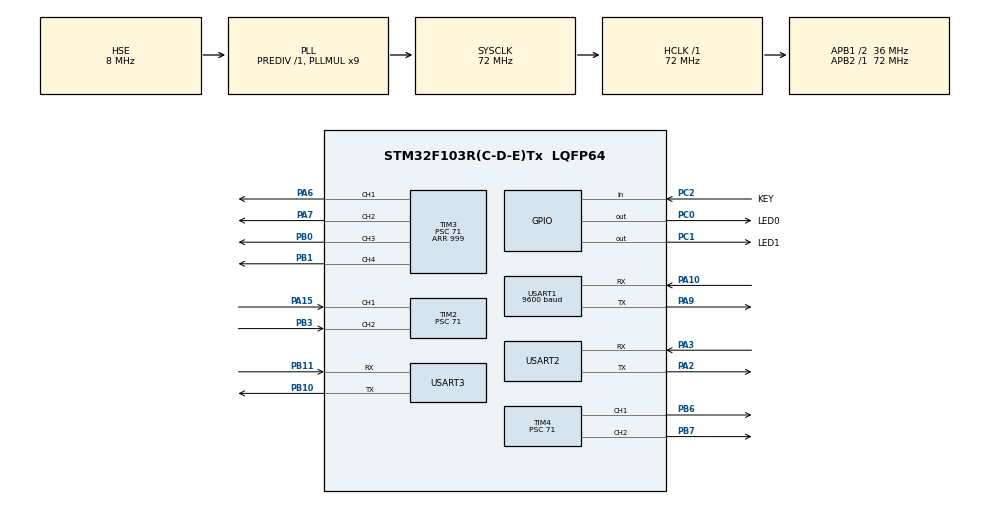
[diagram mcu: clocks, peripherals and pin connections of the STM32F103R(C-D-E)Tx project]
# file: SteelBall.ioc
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Dma.Request0=USART2_RX
Dma.Request1=USART1_RX
Dma.USART1_RX.1.Direction=DMA_PERIPH_TO_MEMORY
Dma.USART1_RX.1.Instance=DMA1_Channel5
Dma.USART1_RX.1.MemDataAlignment=DMA_MDATAALIGN_BYTE
Dma.USART1_RX.1.MemInc=DMA_MINC_ENABLE
Dma.USART1_RX.1.Mode=DMA_NORMAL
Dma.USART1_RX.1.PeriphDataAlignment=DMA_PDATAALIGN_BYTE
Dma.USART1_RX.1.PeriphInc=DMA_PINC_DISABLE
Dma.USART1_RX.1.Priority=DMA_PRIORITY_LOW
Dma.USART2_RX.0.Direction=DMA_PERIPH_TO_MEMORY
Dma.USART2_RX.0.Instance=DMA1_Channel6
Dma.USART2_RX.0.MemDataAlignment=DMA_MDATAALIGN_BYTE
Dma.USART2_RX.0.MemInc=DMA_MINC_ENABLE
Dma.USART2_RX.0.Mode=DMA_NORMAL
Dma.USART2_RX.0.PeriphDataAlignment=DMA_PDATAALIGN_BYTE
Dma.USART2_RX.0.PeriphInc=DMA_PINC_DISABLE
Dma.USART2_RX.0.Priority=DMA_PRIORITY_LOW
Mcu.Family=STM32F1
Mcu.Name=STM32F103R(C-D-E)Tx
Mcu.Package=LQFP64
NVIC.DMA1_Channel5_IRQn=true\:0\:0\:false\:false\:true\:false\:true
NVIC.DMA1_Channel6_IRQn=true\:0\:0\:false\:false\:true\:false\:true
NVIC.PriorityGroup=NVIC_PRIORITYGROUP_2
NVIC.TIM2_IRQn=true\:1\:0\:true\:false\:true\:true\:true
NVIC.TIM6_IRQn=true\:1\:0\:true\:false\:true\:true\:true
NVIC.TIM7_IRQn=true\:0\:0\:false\:false\:true\:true\:true
NVIC.USART1_IRQn=true\:0\:0\:true\:false\:true\:true\:true
NVIC.USART2_IRQn=true\:2\:0\:true\:false\:true\:true\:true
NVIC.USART3_IRQn=true\:2\:1\:true\:false\:true\:true\:true
PA10.Mode=Asynchronous
PA10.Signal=USART1_RX
PA13.Mode=Serial_Wire
PA13.Signal=SYS_JTMS-SWDIO
PA14.Mode=Serial_Wire
PA14.Signal=SYS_JTCK-SWCLK
PA15.GPIO_PuPd=GPIO_PULLUP
PA15.Signal=S_TIM2_CH1_ETR
PA2.Mode=Asynchronous
PA2.Signal=USART2_TX
PA3.Mode=Asynchronous
PA3.Signal=USART2_RX
PA6.GPIO_Speed=GPIO_SPEED_FREQ_HIGH
PA6.Signal=S_TIM3_CH1
PA7.GPIO_Speed=GPIO_SPEED_FREQ_HIGH
PA7.Signal=S_TIM3_CH2
PA9.Mode=Asynchronous
PA9.Signal=USART1_TX
PB0.GPIO_Speed=GPIO_SPEED_FREQ_HIGH
PB0.Signal=S_TIM3_CH3
PB1.GPIO_Speed=GPIO_SPEED_FREQ_HIGH
PB1.Signal=S_TIM3_CH4
PB10.Mode=Asynchronous
PB10.Signal=USART3_TX
PB11.Mode=Asynchronous
PB11.Signal=USART3_RX
PB3.GPIO_PuPd=GPIO_PULLUP
PB3.Signal=S_TIM2_CH2
PB6.GPIO_Speed=GPIO_SPEED_FREQ_HIGH
PB6.Signal=S_TIM4_CH1
PB7.GPIO_Speed=GPIO_SPEED_FREQ_HIGH
PB7.Signal=S_TIM4_CH2
PC0.GPIO_Label=LED0
PC0.Signal=GPIO_Output
PC1.GPIO_Label=LED1
PC1.Signal=GPIO_Output
PC2.GPIO_Label=KEY
PC2.Signal=GPIO_Input
PD0-OSC_IN.Mode=HSE-External-Oscillator
PD0-OSC_IN.Signal=RCC_OSC_IN
PD1-OSC_OUT.Mode=HSE-External-Oscillator
PD1-OSC_OUT.Signal=RCC_OSC_OUT
ProjectManager.HeapSize=0x200
ProjectManager.StackSize=0x400
ProjectManager.TargetToolchain=MDK-ARM V5
RCC.AHBFreq_Value=72000000
RCC.APB1CLKDivider=RCC_HCLK_DIV2
RCC.APB1Freq_Value=36000000
RCC.APB1TimFreq_Value=72000000
RCC.APB2Freq_Value=72000000
RCC.APB2TimFreq_Value=72000000
RCC.EnbaleCSS=true
RCC.HCLKFreq_Value=72000000
RCC.PLLMUL=RCC_PLL_MUL9
RCC.PLLSourceVirtual=RCC_PLLSOURCE_HSE
RCC.SYSCLKFreq_VALUE=72000000
RCC.SYSCLKSource=RCC_SYSCLKSOURCE_PLLCLK
RCC.USBFreq_Value=72000000
SH.S_TIM2_CH1_ETR.0=TIM2_CH1,Input_Capture1_from_TI1
SH.S_TIM2_CH2.0=TIM2_CH2,Input_Capture2_from_TI2
SH.S_TIM3_CH1.0=TIM3_CH1,PWM Generation1 CH1
SH.S_TIM3_CH2.0=TIM3_CH2,PWM Generation2 CH2
SH.S_TIM3_CH3.0=TIM3_CH3,PWM Generation3 CH3
SH.S_TIM3_CH4.0=TIM3_CH4,PWM Generation4 CH4
SH.S_TIM4_CH1.0=TIM4_CH1,PWM Generation1 CH1
SH.S_TIM4_CH2.0=TIM4_CH2,PWM Generation2 CH2
TIM2.Channel-Input_Capture1_from_TI1=TIM_CHANNEL_1
TIM2.Channel-Input_Capture2_from_TI2=TIM_CHANNEL_2
TIM2.ICFilter_CH1=0
TIM2.ICFilter_CH2=0
TIM2.Period=0xFFFF
TIM2.Prescaler=71
TIM3.AutoReloadPreload=TIM_AUTORELOAD_PRELOAD_ENABLE
TIM3.Channel-PWM\ Generation1\ CH1=TIM_CHANNEL_1
TIM3.Channel-PWM\ Generation2\ CH2=TIM_CHANNEL_2
TIM3.Channel-PWM\ Generation3\ CH3=TIM_CHANNEL_3
TIM3.Channel-PWM\ Generation4\ CH4=TIM_CHANNEL_4
TIM3.Period=999
TIM3.Prescaler=71
TIM3.Pulse-PWM\ Generation1\ CH1=100
TIM3.Pulse-PWM\ Generation2\ CH2=200
TIM3.Pulse-PWM\ Generation3\ CH3=300
TIM3.Pulse-PWM\ Generation4\ CH4=400
TIM4.AutoReloadPreload=TIM_AUTORELOAD_PRELOAD_ENABLE
TIM4.Channel-PWM\ Generation1\ CH1=TIM_CHANNEL_1
TIM4.Channel-PWM\ Generation2\ CH2=TIM_CHANNEL_2
TIM4.Period=999
TIM4.Prescaler=71
TIM4.Pulse-PWM\ Generation1\ CH1=123
TIM4.Pulse-PWM\ Generation2\ CH2=456
TIM6.Period=1000
TIM6.Prescaler=71
TIM7.Period=9999
TIM7.Prescaler=71
USART1.BaudRate=9600
USART1.VirtualMode=VM_ASYNC
USART2.VirtualMode=VM_ASYNC
USART3.VirtualMode=VM_ASYNC
VP_TIM6_VS_ClockSourceINT.Mode=Enable_Timer
VP_TIM7_VS_ClockSourceINT.Mode=Enable_Timer
board=custom

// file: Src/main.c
/* USER CODE BEGIN Header */
/**
  ******************************************************************************
  * @file           : main.c
  * @brief          : Main program body
  ******************************************************************************
  * @attention
  *
  * <h2><center>&copy; Copyright (c) 2019 STMicroelectronics.
  * All rights reserved.</center></h2>
  *
  * This software component is licensed by ST under BSD 3-Clause license,
  * the "License"; You may not use this file except in compliance with the
  * License. You may obtain a copy of the License at:
  *                        opensource.org/licenses/BSD-3-Clause
  *
  ******************************************************************************
  */
/* USER CODE END Header */

#include "main.h"
#include "dma.h"
#include "tim.h"
#include "usart.h"
#include "gpio.h"

/* USER CODE BEGIN Includes */
#include <stdio.h>
#include "Gyro.h"
#include "UsartHmi.h"
#include <stdlib.h>
#include <math.h>
/* USER CODE END Includes */

void SystemClock_Config(void);
/* USER CODE BEGIN PFP */
void PrintDisplay(void);
double getAlpha(double time);
/* USER CODE END PFP */

/* USER CODE BEGIN 0 */

//uint16_t Capture[0].Buff[3]={0};
//uint8_t Capture[0].Cnt = 0;
//uint16_t PwmCycle,Capture[0].Time;

uint16_t CapTime=0;
Capture_t Capture[2];
uint8_t PrintBuff[3]={0xff,0xff,0xff};
float Angle;
/* USER CODE END 0 */

int main(void)
{
  /* USER CODE BEGIN 1 */
//uint16_t flag=0;
  /* USER CODE END 1 */

  /* MCU Configuration--------------------------------------------------------*/

  /* Reset of all peripherals, Initializes the Flash interface and the Systick. */
  HAL_Init();

  /* Configure the system clock */
  SystemClock_Config();

  /* Initialize all configured peripherals */
  MX_GPIO_Init();
  MX_DMA_Init();
  MX_TIM6_Init();
  MX_TIM2_Init();
  MX_TIM3_Init();
  MX_TIM4_Init();
  MX_USART1_UART_Init();
  MX_USART2_UART_Init();
  MX_USART3_UART_Init();
  MX_TIM7_Init();
  /* USER CODE BEGIN 2 */
	HAL_TIM_PWM_Start(&htim3,TIM_CHANNEL_1);
	HAL_TIM_PWM_Start(&htim3,TIM_CHANNEL_2);
	HAL_TIM_PWM_Start(&htim3,TIM_CHANNEL_3);
	HAL_TIM_PWM_Start(&htim3,TIM_CHANNEL_4);

	HAL_TIM_PWM_Start(&htim4,TIM_CHANNEL_1);
	HAL_TIM_PWM_Start(&htim4,TIM_CHANNEL_2);
	__HAL_TIM_ENABLE_IT(&htim2,TIM_IT_UPDATE);
	HAL_TIM_Base_Start_IT(&htim6);
	HAL_TIM_Base_Start_IT(&htim7);
	__HAL_UART_ENABLE_IT(&huart1,UART_IT_IDLE );
	__HAL_UART_ENABLE_IT(&huart2,UART_IT_IDLE );
	//HAL_UART_Receive_DMA(&huart2,GY955.buff,20);
  /* USER CODE END 2 */

  /* Infinite loop */
  while (1)
  {
    /* USER CODE BEGIN 3 */

		PrintDisplay();
  }

  /* USER CODE END 3 */
}

void SystemClock_Config(void)
{
  RCC_OscInitTypeDef RCC_OscInitStruct = {0};
  RCC_ClkInitTypeDef RCC_ClkInitStruct = {0};

  /** Initializes the CPU, AHB and APB busses clocks
  */
  RCC_OscInitStruct.OscillatorType = RCC_OSCILLATORTYPE_HSE;
  RCC_OscInitStruct.HSEState = RCC_HSE_ON;
  RCC_OscInitStruct.HSEPredivValue = RCC_HSE_PREDIV_DIV1;
  RCC_OscInitStruct.HSIState = RCC_HSI_ON;
  RCC_OscInitStruct.PLL.PLLState = RCC_PLL_ON;
  RCC_OscInitStruct.PLL.PLLSource = RCC_PLLSOURCE_HSE;
  RCC_OscInitStruct.PLL.PLLMUL = RCC_PLL_MUL9;
  if (HAL_RCC_OscConfig(&RCC_OscInitStruct) != HAL_OK)
  {
    Error_Handler();
  }
  /** Initializes the CPU, AHB and APB busses clocks
  */
  RCC_ClkInitStruct.ClockType = RCC_CLOCKTYPE_HCLK|RCC_CLOCKTYPE_SYSCLK
                              |RCC_CLOCKTYPE_PCLK1|RCC_CLOCKTYPE_PCLK2;
  RCC_ClkInitStruct.SYSCLKSource = RCC_SYSCLKSOURCE_PLLCLK;
  RCC_ClkInitStruct.AHBCLKDivider = RCC_SYSCLK_DIV1;
  RCC_ClkInitStruct.APB1CLKDivider = RCC_HCLK_DIV2;
  RCC_ClkInitStruct.APB2CLKDivider = RCC_HCLK_DIV1;

  if (HAL_RCC_ClockConfig(&RCC_ClkInitStruct, FLASH_LATENCY_2) != HAL_OK)
  {
    Error_Handler();
  }
  /** Enables the Clock Security System
  */
  HAL_RCC_EnableCSS();
}

/* USER CODE BEGIN 4 */
void HAL_TIM_IC_CaptureCallback(TIM_HandleTypeDef *htim)
{
  if(htim->Instance == TIM2 )
	{
		if(htim->Channel == HAL_TIM_ACTIVE_CHANNEL_1)
		{
		  switch(Capture[0].Cnt)
			{
				case 1:
						Capture[0].Buff[0] = __HAL_TIM_GET_COMPARE(htim,TIM_CHANNEL_1);
				    TIM_RESET_CAPTUREPOLARITY(&htim2,TIM_CHANNEL_1);
						__HAL_TIM_SET_CAPTUREPOLARITY(htim,TIM_CHANNEL_1,TIM_INPUTCHANNELPOLARITY_RISING);//RISING
						Capture[0].Cnt++;
				    Capture[0].Num++;
				    break;
				case 2:
						Capture[0].Buff[1] = __HAL_TIM_GET_COMPARE(htim,TIM_CHANNEL_1) + Capture[0].Temp*65535;
				    HAL_TIM_IC_Stop_IT(htim,TIM_CHANNEL_1);
						Capture[0].Cnt++;
				    break;
				default:
					break;
			}
		}
		else if(htim->Channel == HAL_TIM_ACTIVE_CHANNEL_2)
		{
		  switch(Capture[1].Cnt)
			{
				case 1:
						Capture[1].Buff[0] = __HAL_TIM_GET_COMPARE(htim,TIM_CHANNEL_2);
		    		TIM_RESET_CAPTUREPOLARITY(&htim2,TIM_CHANNEL_2);
						__HAL_TIM_SET_CAPTUREPOLARITY(htim,TIM_CHANNEL_2,TIM_INPUTCHANNELPOLARITY_RISING);//RISING
						Capture[1].Cnt++;
				    Capture[1].Num++;
				    break;
				case 2:
						Capture[1].Buff[1] = __HAL_TIM_GET_COMPARE(htim,TIM_CHANNEL_2) + Capture[1].Temp*65535;
				    HAL_TIM_IC_Stop_IT(htim,TIM_CHANNEL_2);
						Capture[1].Cnt++;
				    break;
				default:
					break;
			}
		}

	}
}

void HAL_TIM_PeriodElapsedCallback(TIM_HandleTypeDef *htim)//更新中断（溢出）发生时执行
{
	static uint16_t time=0;
  if(htim->Instance == TIM6 )
	{
		if(Capture[0].Num > Capture[1].Num)
		{
			Capture[0].Flag=1;
		  time++;
		}
		else if(Capture[0].Num < Capture[1].Num)
		{
			Capture[0].Flag=0;
			time++;
		}
		else
    {
			if(time!=0)
			{
			  CapTime=time;
				time=0;
			}

		}

	}
	else if(htim->Instance == TIM7)
	{
		switch(Capture[0].Cnt)
		{
			case 0:
				Capture[0].Cnt++;
			  __HAL_TIM_SET_CAPTUREPOLARITY(&htim2,TIM_CHANNEL_1,TIM_INPUTCHANNELPOLARITY_FALLING);
			  HAL_TIM_IC_Start_IT(&htim2,TIM_CHANNEL_1);

			    break;
			case 3:

		     Capture[0].Time = Capture[0].Buff[1] - Capture[0].Buff[0];
				 if(Capture[0].Num == Capture[1].Num)
				 {
						Angle=getAlpha(CapTime/100.0f);
			   }
				 __HAL_TIM_DISABLE(&htim2);

 				 __HAL_TIM_SET_COUNTER(&htim2,0);
				 TIM_RESET_CAPTUREPOLARITY(&htim2,TIM_CHANNEL_1);
	   		 Capture[0].Cnt = 0;
				 Capture[0].Temp = 0;

				 __HAL_TIM_ENABLE(&htim2);
			    break;
			default:
				break;

		}

		switch(Capture[1].Cnt)
		{
			case 0:
				Capture[1].Cnt++;
		  	__HAL_TIM_SET_CAPTUREPOLARITY(&htim2,TIM_CHANNEL_2,TIM_INPUTCHANNELPOLARITY_FALLING);
		  	HAL_TIM_IC_Start_IT(&htim2,TIM_CHANNEL_2);

			    break;
			case 3:

		     Capture[1].Time = Capture[1].Buff[1] - Capture[1].Buff[0];

				 if(Capture[0].Num == Capture[1].Num)
				 {
						Angle=getAlpha(CapTime/100.0f);
			   }
				 __HAL_TIM_DISABLE(&htim2);
 				 __HAL_TIM_SET_COUNTER(&htim2,0);
				 TIM_RESET_CAPTUREPOLARITY(&htim2,TIM_CHANNEL_2);
	   		 Capture[1].Cnt = 0;
				 Capture[1].Temp=0;
				 __HAL_TIM_ENABLE(&htim2);
			    break;
			default:
				break;

		}
	}

}

void PrintDisplay(void)
{
		switch(Hmi.Flag)
		{
		 case 0:
					printf("t0.PrintBuff=\"%.2f\"",GY955.Yaw);
					HAL_UART_Transmit(&huart1,PrintBuff,3,10);

					printf("t1.PrintBuff=\"%.2f\"",GY955.Pitch);
					HAL_UART_Transmit(&huart1,PrintBuff,3,10);

					printf("t2.PrintBuff=\"%.2f\"",GY955.Roll);
					HAL_UART_Transmit(&huart1,PrintBuff,3,10);

		      printf("t3.PrintBuff=\"S1:%.2f ms\"",(float)Capture[0].Time/100);
					HAL_UART_Transmit(&huart1,PrintBuff,3,10);

		      printf("t4.PrintBuff=\"S2:%.2f ms\"",(float)Capture[1].Time/100);
					HAL_UART_Transmit(&huart1,PrintBuff,3,10);

		      printf("t5.PrintBuff=\"Tim:%.1f ms\"",CapTime/100.0f);
					HAL_UART_Transmit(&huart1,PrintBuff,3,10);

					printf("t9.PrintBuff=\"Num:%d\"",Capture[1].Num);
		      HAL_UART_Transmit(&huart1,PrintBuff,3,10);

					printf("t10.PrintBuff=\"Angle:%.2f\"",Angle);
		      HAL_UART_Transmit(&huart1,PrintBuff,3,10);

					if(Capture[0].Flag==1)
					{
						printf("t11.PrintBuff=\"Dir:->(10)\"");
					 HAL_UART_Transmit(&huart1,PrintBuff,3,10);
					}
					else
					{
						printf("t11.PrintBuff=\"Dir:<-(01)\"");
					  HAL_UART_Transmit(&huart1,PrintBuff,3,10);
					}
			 break;
		 case 1:
			    printf("t0.PrintBuff=\"T:%d\"",Capture[1].Num/2);
				  HAL_UART_Transmit(&huart1,PrintBuff,3,10);
			 break;
		 case 2:
			    printf("t0.PrintBuff=\"Num:%d\"",Capture[1].Num);
					HAL_UART_Transmit(&huart1,PrintBuff,3,10);
			 break ;
		 default:
			 break;

	 }

}

double getAlpha(double time)
{
 double a, b, c;
 double alpha;
 a = 2.727e+04;
 b = -1.886;
 c = 1.07;

 alpha = a*powl(time, b) + c;

 return alpha;
}

/* USER CODE END 4 */

void Error_Handler(void)
{
}

/************************ (C) COPYRIGHT STMicroelectronics *****END OF FILE****/
